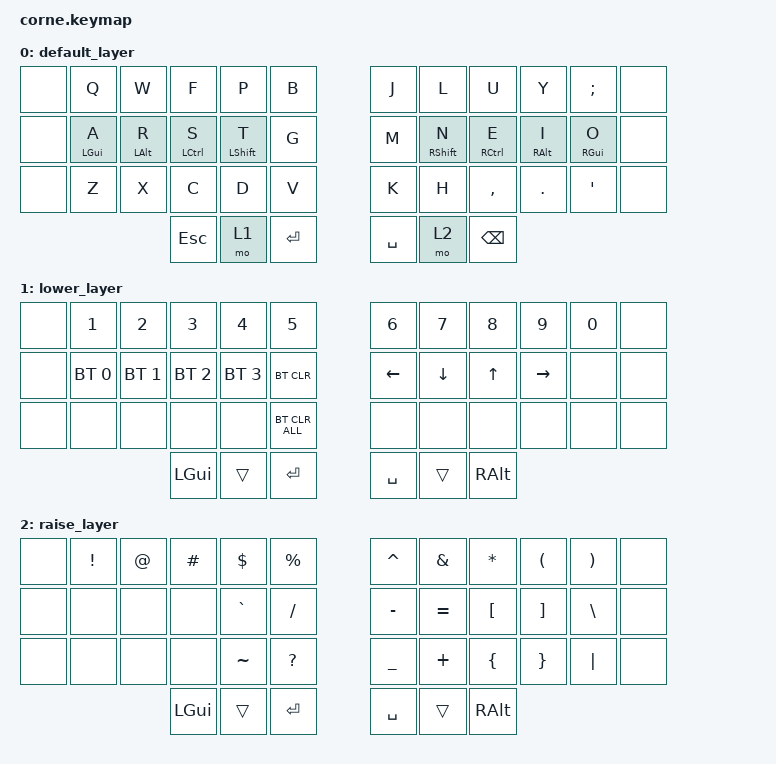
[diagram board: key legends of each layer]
/*
 * Copyright (c) 2020 The ZMK Contributors
 *
 * SPDX-License-Identifier: MIT
 */

#include <behaviors.dtsi>
#include <dt-bindings/zmk/bt.h>
#include <dt-bindings/zmk/keys.h>

/ {
    behaviors {
        hml: home_row_mod_left {
            compatible = "zmk,behavior-hold-tap";
            #binding-cells = <2>;
            flavor = "balanced";
            require-prior-idle-ms = <150>;
            tapping-term-ms = <280>;
            quick-tap-ms = <175>;
            bindings = <&kp>, <&kp>;

            hold-trigger-key-positions = < 0 1 2 3 4 5 12 13 14 15 16 17 24 25 26 27 28 29 >; // List of keys on the right side of the keyboard
            hold-trigger-on-release;
        };

        hmr: home_row_mod_right {
            compatible = "zmk,behavior-hold-tap";
            #binding-cells = <2>;
            flavor = "balanced";
            require-prior-idle-ms = <150>;
            tapping-term-ms = <280>;
            quick-tap-ms = <175>;
            bindings = <&kp>, <&kp>;

            hold-trigger-key-positions = < 6 7 8 9 10 11 18 19 20 21 22 23 30 31 32 33 34 35 >; // List of keys on the left side of the keyboard
            hold-trigger-on-release;
        };
    };
};

/ {
    keymap {
        compatible = "zmk,keymap";

        default_layer {
            // -----------------------------------------------------------------------------------------
            // ||  Q          |  W        |  F        |  P        |  B  |   |  J  |  L        |  U        |  Y          |  ;        ||
            // || A [LGUI]    | R [LALT]  | S [LCTRL] | T [LSHFT] |  G  |   |  M  | N [RSHFT] | E [RCTRL] | I [RALT]    | O [RGUI]  ||
            // ||  Z          |  X        |  C        |  D        |  V  |   |  K  |  H        |  ,        |  .          |  '        ||
            //                              | ESC       | LWR       | ENT |   | SPC | RSE       | BSPC      |

            bindings = <
&none  &kp Q        &kp W        &kp F         &kp P         &kp B      &kp J      &kp L         &kp U         &kp Y        &kp SEMI     &none
&none  &hml LGUI A  &hml LALT R  &hml LCTRL S  &hml LSHFT T  &kp G      &kp M      &hmr RSHFT N  &hmr RCTRL E  &hmr RALT I  &hmr RGUI O  &none
&none  &kp Z        &kp X        &kp C         &kp D         &kp V      &kp K      &kp H         &kp COMMA     &kp DOT      &kp SQT      &none
                                 &kp ESC       &mo 1         &kp RET    &kp SPACE  &mo 2         &kp BSPC
            >;
        };

        lower_layer {
            // -----------------------------------------------------------------------------------------
            // ||  1  |  2  |  3  |  4  |  5          |   |  6  |  7  |  8  |  9  |  0  ||
            // || BT1 | BT2 | BT3 | BT4 | BTCLR       |   | LFT | DWN |  UP | RGT |     ||
            // ||     |     |     |     | BT_CLR_ALL  |   |     |     |     |     |     ||
            //                    | GUI |     | ENT         |   | SPC |     | ALT |

            bindings = <
&none  &kp N1        &kp N2        &kp N3        &kp N4        &kp N5            &kp N6     &kp N7    &kp N8    &kp N9     &kp N0  &none
&none  &bt BT_SEL 0  &bt BT_SEL 1  &bt BT_SEL 2  &bt BT_SEL 3  &bt BT_CLR        &kp LEFT   &kp DOWN  &kp UP    &kp RIGHT  &none   &none
&none  &none         &none         &none         &none         &bt BT_CLR_ALL    &none      &none     &none     &none      &none   &none
                                   &kp LGUI      &trans        &kp RET           &kp SPACE  &trans    &kp RALT
            >;
        };

        raise_layer {
            // -----------------------------------------------------------------------------------------
            // ||  !  |  @  |  #  |  $  |  %  |   |  ^  |  &  |  *  |  (  |  )  ||
            // ||     |     |     |  `  |  /  |   |  -  |  =  |  [  |  ]  |  \  ||
            // ||     |     |     |  ~  |  ?  |   |  _  |  +  |  {  |  }  | "|" ||
            //                    | GUI |     | ENT |   | SPC |     | ALT |

            bindings = <
&none  &kp EXCL  &kp AT  &kp HASH  &kp DLLR   &kp PRCNT    &kp CARET  &kp AMPS   &kp ASTRK  &kp LPAR  &kp RPAR  &none
&none  &none     &none   &none     &kp GRAVE  &kp FSLH     &kp MINUS  &kp EQUAL  &kp LBKT   &kp RBKT  &kp BSLH  &none
&none  &none     &none   &none     &kp TILDE  &kp QMARK    &kp UNDER  &kp PLUS   &kp LBRC   &kp RBRC  &kp PIPE  &none
                         &kp LGUI  &trans     &kp RET      &kp SPACE  &trans     &kp RALT
            >;
        };
    };
};
